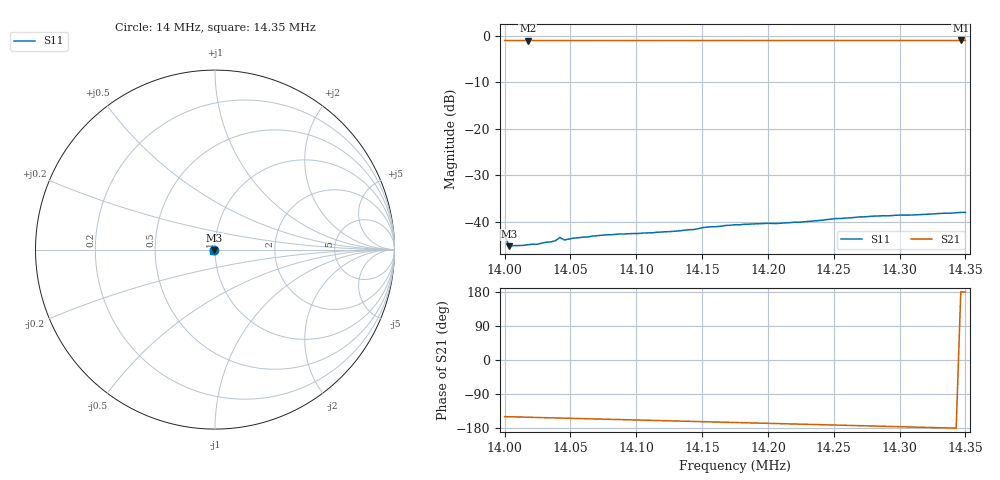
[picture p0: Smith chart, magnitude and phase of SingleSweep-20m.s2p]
# HZ S RI R 50
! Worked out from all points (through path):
!   101 points, 14 MHz to 14.35 MHz, reference 50 ohm
!   highest |S21| = -1.04 dB at 14.347 MHz (marker M1); lowest = -1.1 dB at 14.018 MHz (marker M2)
!   group delay of S21, straight-line fit = 246 ns
!   lowest |S11| = -45.2 dB at 14.004 MHz (marker M3), VSWR 1.01, Z = 49.6 - j0.313 ohm
!   |S11| at or under -10 dB: start of sweep to end of sweep
!   S12 and S22 are empty: the file has one direction only
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1.4e7  -0.00648 -0.00301  -0.7634 -0.4508  0 0  0 0
1.40035e7  -0.00446 -0.00315  -0.765 -0.4461  0 0  0 0
1.40175e7  -0.00465 -0.00322  -0.7744 -0.4293  0 0  0 0
1.40245e7  -0.00473 -0.00323  -0.7793 -0.421  0 0  0 0
1.40315e7  -0.00505 -0.00329  -0.7838 -0.4125  0 0  0 0
1.4035e7  -0.00507 -0.00333  -0.7861 -0.4083  0 0  0 0
1.40385e7  -0.00525 -0.00337  -0.7881 -0.404  0 0  0 0
1.4042e7  -0.00592 -0.00332  -0.7908 -0.3999  0 0  0 0
1.40455e7  -0.00532 -0.00348  -0.7927 -0.3955  0 0  0 0
1.40595e7  -0.00567 -0.00382  -0.8011 -0.3784  0 0  0 0
1.40875e7  -0.00598 -0.00435  -0.8168 -0.3434  0 0  0 0
1.4119e7  -0.00633 -0.00446  -0.8326 -0.3032  0 0  0 0
1.41435e7  -0.00691 -0.0045  -0.8434 -0.2714  0 0  0 0
1.41505e7  -0.00728 -0.00468  -0.8466 -0.2624  0 0  0 0
1.4175e7  -0.00778 -0.00508  -0.8559 -0.2304  0 0  0 0
1.41995e7  -0.00804 -0.00528  -0.864 -0.1978  0 0  0 0
1.42065e7  -0.00802 -0.00521  -0.866 -0.1884  0 0  0 0
1.42345e7  -0.00881 -0.00511  -0.8735 -0.1506  0 0  0 0
1.4252e7  -0.00948 -0.00523  -0.8774 -0.1269  0 0  0 0
1.4294e7  -0.0102 -0.00555  -0.884 -0.0697  0 0  0 0
1.43465e7  -0.0114 -0.00535  -0.8872 0.00257  0 0  0 0
1.435e7  -0.0114 -0.00531  -0.8871 0.00742  0 0  0 0
